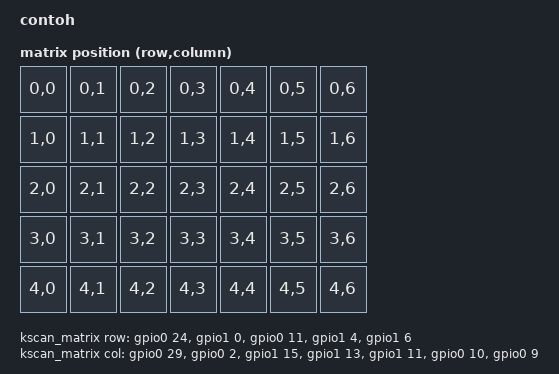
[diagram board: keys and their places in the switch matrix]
/*
 * Copyright (c) 2022 The ZMK Contributors
 *
 * SPDX-License-Identifier: MIT
 */
#include <dt-bindings/zmk/matrix_transform.h>

/ {
    model = "contoh";

    chosen {
        zmk,kscan = &kscan;
        zmk,matrix_transform = &transform;
    };


    transform: transform {
        compatible = "zmk,matrix-transform";
        rows = <5>;
        columns = <7>;

        map = <
         RC(0,0) RC(0,1) RC(0,2) RC(0,3) RC(0,4) RC(0,5) RC(0,6)
         RC(1,0) RC(1,1) RC(1,2) RC(1,3) RC(1,4) RC(1,5) RC(1,6)
         RC(2,0) RC(2,1) RC(2,2) RC(2,3) RC(2,4) RC(2,5) RC(2,6)
         RC(3,0) RC(3,1) RC(3,2) RC(3,3) RC(3,4) RC(3,5) RC(3,6)
         RC(4,0) RC(4,1) RC(4,2) RC(4,3) RC(4,4) RC(4,5) RC(4,6)
        >;
    }; 


    kscan: kscan {
        compatible = "zmk,kscan-composite";
        label = "KSCAN";
        rows = <5>;
        columns = <7>;

        matrix {
            kscan = <&kscan_matrix>;
        };

        direct {
            kscan = <&kscan_enc>;
            column-offset = <5>; 
        };
    };


    kscan_matrix: kscan_matrix {
        compatible = "zmk,kscan-gpio-matrix";
        label = "KSCAN_MATRIX";

        diode-direction = "col2row"; 

        col-gpios
            = <&gpio0 29 (GPIO_ACTIVE_HIGH)>
            , <&gpio0 2  (GPIO_ACTIVE_HIGH)>
            , <&gpio1 15 (GPIO_ACTIVE_HIGH)>
            , <&gpio1 13  (GPIO_ACTIVE_HIGH)>
            , <&gpio1 11  (GPIO_ACTIVE_HIGH)>
            , <&gpio0 10 (GPIO_ACTIVE_HIGH)>
            , <&gpio0 9 (GPIO_ACTIVE_HIGH)>
            ;
        row-gpios
            = <&gpio0 24 (GPIO_ACTIVE_HIGH | GPIO_PULL_UP)>
            , <&gpio1 0 (GPIO_ACTIVE_HIGH | GPIO_PULL_UP)>
            , <&gpio0 11 (GPIO_ACTIVE_HIGH | GPIO_PULL_UP)>
            , <&gpio1 4 (GPIO_ACTIVE_HIGH | GPIO_PULL_UP)>
            , <&gpio1 6 (GPIO_ACTIVE_HIGH | GPIO_PULL_UP)>
            ;
    };
};
